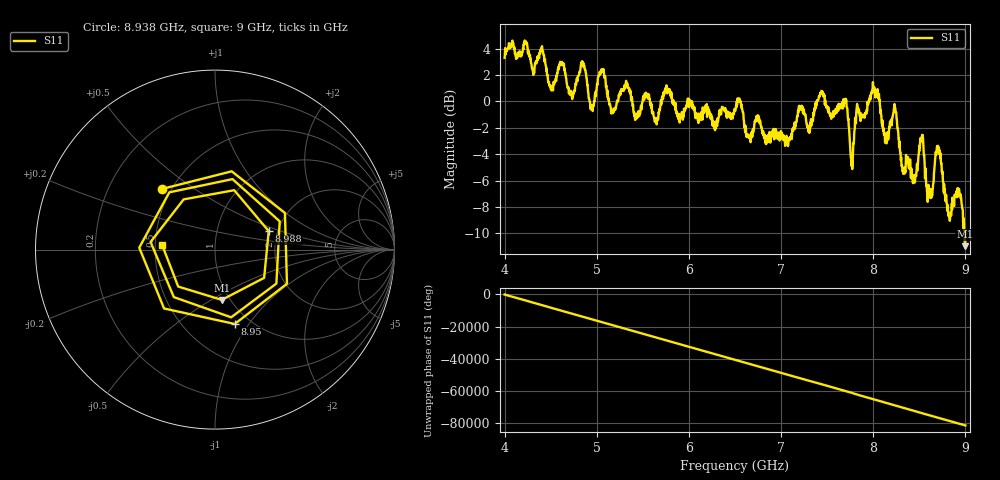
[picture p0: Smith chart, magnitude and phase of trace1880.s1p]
! Created with skrf 1.8.0 (http://scikit-rf.org).
# Hz S RI R 50.0
!freq ReS11 ImS11
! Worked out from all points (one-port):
!   1601 points, 4 GHz to 9 GHz, reference 50 ohm
!   lowest |S11| = -11.0 dB at 8.994 GHz (marker M1), VSWR 1.79, Z = 45.8 - j27.9 ohm
!   |S11| at or under -10 dB: 8.989122 GHz to end of sweep
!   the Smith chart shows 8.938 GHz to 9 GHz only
!   S11 on the Smith chart (normalised r, x): 8.938 GHz: 0.45, +0.38; 8.95 GHz: 0.85, -0.86; 8.988 GHz: 1.79, +0.41; 9 GHz: 0.55, +0.03
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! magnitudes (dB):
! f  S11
! 4 GHz  3.3
! 4.403 GHz  4.1
! 4.503 GHz  0.9
! 4.625 GHz  2.9
! 4.722 GHz  0.5
! 4.853 GHz  2.9
! 4.944 GHz  -0.5
! 5.053 GHz  2.4
! 5.162 GHz  -0.8
! 5.25 GHz  0.6
! 5.875 GHz  -1.0
! 6.5 GHz  -0.7
! 7.125 GHz  -2.1
! 7.447 GHz  0.6
! 7.697 GHz  0.1
! 7.75 GHz  -3.7
! 8.016 GHz  1.0
! 8.375 GHz  -4.3
! 8.444 GHz  -6.1
! 8.528 GHz  -2.7
! 8.616 GHz  -6.9
! 8.706 GHz  -3.8
! 8.822 GHz  -8.4
! 8.938 GHz  -7.0
! 8.95 GHz  -7.4
! 8.988 GHz  -10.0
! 8.994 GHz  -11.0
! 9 GHz  -10.6
